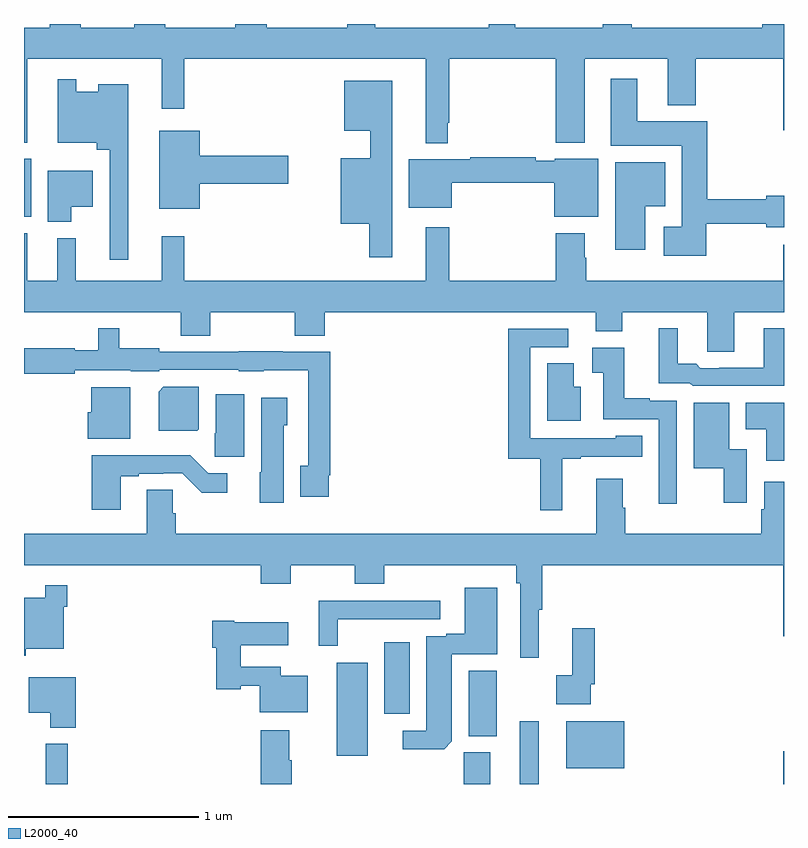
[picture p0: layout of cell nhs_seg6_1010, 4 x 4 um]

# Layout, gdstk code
import gdstk
lib = gdstk.Library(unit=1e-6, precision=1e-09)
def R(c, l, rs):  # rectangles x0, y0, x1, y1
    for r in rs: c.add(gdstk.rectangle(r[:2], r[2:], *l))
def P(c, l, *ps):  # polygons
    for p in ps: c.add(gdstk.Polygon(p, *l))
L2000_40 = (2000, 40)

nhs_seg6_1010 = lib.new_cell('nhs_seg6_1010')
R(nhs_seg6_1010, L2000_40, [(173.114,963.5,173.231,963.712), (175.315,963.5,175.453,963.666), (175.61,963.5,175.708,963.829), (176.996,963.5,177,963.673), (175.853,963.584,176.158,963.829), (174.647,963.648,174.808,964.138), (175.34,963.751,175.488,964.097), (174.896,963.87,175.03,964.246), (173,966.485,173.038,966.79)])
P(nhs_seg6_1010, L2000_40, [(175.23,966.979),(175.237,966.979),(175.237,967.316),(175.799,967.316),(175.799,966.875),(175.951,966.875),(175.951,967.316),(176.387,967.316),(176.387,967.073),(176.535,967.073),(176.535,967.316),(176.996,967.316),(176.996,966.942),(177,966.942),(177,967.5),(176.885,967.5),(176.885,967.48),(176.198,967.48),(176.198,967.5),(176.045,967.5),(176.045,967.48),(175.585,967.48),(175.585,967.5),(175.445,967.5),(175.445,967.48),(174.849,967.48),(174.849,967.5),(174.701,967.5),(174.701,967.48),(174.277,967.48),(174.277,967.5),(174.113,967.5),(174.113,967.48),(173.743,967.48),(173.743,967.5),(173.579,967.5),(173.579,967.48),(173.299,967.48),(173.299,967.5),(173.135,967.5),(173.135,967.48),(173,967.48),(173,966.875),(173.017,966.875),(173.017,967.316),(173.726,967.316),(173.726,967.053),(173.843,967.053),(173.843,967.316),(175.115,967.316),(175.115,966.872),(175.23,966.872)],
  [(176.592,966.45),(176.906,966.45),(176.906,966.431),(177,966.431),(177,966.597),(176.906,966.597),(176.906,966.578),(176.597,966.578),(176.597,966.988),(176.227,966.988),(176.227,967.213),(176.087,967.213),(176.087,966.86),(176.462,966.86),(176.462,966.433),(176.367,966.433),(176.367,966.281),(176.592,966.281)],
  [(173.548,967.183),(173.39,967.183),(173.39,967.144),(173.274,967.144),(173.274,967.21),(173.178,967.21),(173.178,966.875),(173.383,966.875),(173.383,966.839),(173.451,966.839),(173.451,966.258),(173.548,966.258)],
  [(174.937,967.201),(174.686,967.201),(174.686,966.938),(174.823,966.938),(174.823,966.793),(174.668,966.793),(174.668,966.449),(174.816,966.449),(174.816,966.273),(174.937,966.273)],
  [(173.926,966.659),(174.391,966.659),(174.391,966.806),(173.926,966.806),(173.926,966.937),(173.711,966.937),(173.711,966.527),(173.926,966.527)],
  [(176.023,966.79),(175.794,966.79),(175.794,966.78),(175.694,966.78),(175.694,966.8),(175.348,966.8),(175.348,966.787),(175.025,966.787),(175.025,966.533),(175.252,966.533),(175.252,966.664),(175.79,966.664),(175.79,966.485),(176.023,966.485)],
  [(176.269,966.542),(176.374,966.542),(176.374,966.772),(176.111,966.772),(176.111,966.312),(176.269,966.312)],
  [(173.248,966.539),(173.362,966.539),(173.362,966.727),(173.126,966.727),(173.126,966.458),(173.248,966.458)],
  [(176.737,965.984),(177,965.984),(177,966.337),(176.996,966.337),(176.996,966.148),(175.959,966.148),(175.959,966.269),(175.951,966.269),(175.951,966.4),(175.799,966.4),(175.799,966.148),(175.237,966.148),(175.237,966.43),(175.115,966.43),(175.115,966.148),(173.843,966.148),(173.843,966.382),(173.726,966.382),(173.726,966.148),(173.273,966.148),(173.273,966.373),(173.174,966.373),(173.174,966.148),(173.017,966.148),(173.017,966.4),(173,966.4),(173,965.984),(173.824,965.984),(173.824,965.86),(173.979,965.86),(173.979,965.984),(174.424,965.984),(174.424,965.86),(174.584,965.86),(174.584,965.984),(176.009,965.984),(176.009,965.882),(176.149,965.882),(176.149,965.984),(176.597,965.984),(176.597,965.776),(176.737,965.776)],
  [(177,965.899),(176.894,965.899),(176.894,965.691),(176.659,965.691),(176.659,965.688),(176.559,965.688),(176.537,965.711),(176.44,965.711),(176.44,965.899),(176.342,965.899),(176.342,965.61),(176.505,965.61),(176.52,965.595),(177,965.595)],
  [(174.604,965.125),(174.611,965.125),(174.611,965.775),(174.361,965.775),(174.361,965.777),(174.129,965.777),(174.129,965.775),(173.712,965.775),(173.712,965.794),(173.5,965.794),(173.5,965.899),(173.391,965.899),(173.391,965.783),(173.268,965.783),(173.268,965.794),(173,965.794),(173,965.66),(173.268,965.66),(173.268,965.678),(173.562,965.678),(173.562,965.672),(173.712,965.672),(173.712,965.679),(174.129,965.679),(174.129,965.672),(174.261,965.672),(174.261,965.678),(174.495,965.678),(174.495,965.174),(174.455,965.174),(174.455,965.013),(174.604,965.013)],
  [(175.834,965.211),(175.93,965.211),(175.93,965.223),(176.255,965.223),(176.255,965.332),(176.115,965.332),(176.115,965.319),(175.665,965.319),(175.665,965.799),(175.864,965.799),(175.864,965.895),(175.549,965.895),(175.549,965.211),(175.717,965.211),(175.717,964.941),(175.834,964.941)],
  [(176.436,965.517),(176.294,965.517),(176.294,965.53),(176.158,965.53),(176.158,965.797),(175.992,965.797),(175.992,965.665),(176.048,965.665),(176.048,965.421),(176.34,965.421),(176.34,964.974),(176.436,964.974)],
  [(175.93,965.59),(175.894,965.59),(175.894,965.714),(175.754,965.714),(175.754,965.411),(175.93,965.411)],
  [(173.92,965.368),(173.92,965.59),(173.734,965.59),(173.708,965.564),(173.708,965.36),(173.912,965.36)],
  [(173.56,965.588),(173.354,965.588),(173.354,965.457),(173.336,965.457),(173.336,965.318),(173.56,965.318)],
  [(174.16,965.551),(174.008,965.551),(174.008,965.346),(174.004,965.346),(174.004,965.223),(174.16,965.223)],
  [(174.367,965.388),(174.385,965.388),(174.385,965.533),(174.248,965.533),(174.248,965.142),(174.242,965.142),(174.242,964.98),(174.367,964.98)],
  [(177,965.506),(176.798,965.506),(176.798,965.366),(176.906,965.366),(176.906,965.202),(177,965.202)],
  [(176.805,965.263),(176.713,965.263),(176.713,965.506),(176.525,965.506),(176.525,965.162),(176.684,965.162),(176.684,964.98),(176.805,964.98)],
  [(173.509,965.121),(173.605,965.121),(173.605,965.133),(173.732,965.133),(173.732,965.136),(173.832,965.136),(173.935,965.034),(174.07,965.034),(174.07,965.136),(173.97,965.136),(173.875,965.231),(173.357,965.231),(173.357,964.944),(173.509,964.944)],
  [(175.709,964.416),(175.727,964.416),(175.727,964.652),(176.996,964.652),(176.996,964.278),(177,964.278),(177,965.092),(176.895,965.092),(176.895,964.946),(176.879,964.946),(176.879,964.816),(176.165,964.816),(176.165,964.953),(176.152,964.953),(176.152,965.107),(176.012,965.107),(176.012,964.816),(173.798,964.816),(173.798,964.926),(173.784,964.926),(173.784,965.048),(173.645,965.048),(173.645,964.816),(173,964.816),(173,964.652),(174.245,964.652),(174.245,964.553),(174.405,964.553),(174.405,964.652),(174.742,964.652),(174.742,964.553),(174.897,964.553),(174.897,964.652),(175.591,964.652),(175.591,964.556),(175.611,964.556),(175.611,964.164),(175.709,964.164)],
  [(173.009,964.211),(173.208,964.211),(173.208,964.433),(173.228,964.433),(173.228,964.546),(173.112,964.546),(173.112,964.48),(173,964.48),(173,964.175),(173.009,964.175)],
  [(175.252,963.724),(175.252,964.182),(175.492,964.182),(175.492,964.534),(175.319,964.534),(175.319,964.291),(175.223,964.291),(175.223,964.278),(175.118,964.278),(175.118,963.78),(174.993,963.78),(174.993,963.683),(175.211,963.683)],
  [(174.651,964.368),(175.192,964.368),(175.192,964.464),(174.551,964.464),(174.551,964.227),(174.651,964.227)],
  [(174.493,964.069),(174.352,964.069),(174.352,964.116),(174.142,964.116),(174.142,964.229),(174.391,964.229),(174.391,964.351),(174.106,964.351),(174.106,964.359),(173.99,964.359),(173.99,964.217),(174.013,964.217),(174.013,964),(174.141,964),(174.141,964.018),(174.242,964.018),(174.242,963.878),(174.493,963.878)],
  [(175.983,964.024),(176.003,964.024),(176.003,964.321),(175.886,964.321),(175.886,964.073),(175.8,964.073),(175.8,963.92),(175.983,963.92)],
  [(173.273,964.063),(173.024,964.063),(173.024,963.875),(173.138,963.875),(173.138,963.797),(173.273,963.797)],
  [(174.41,963.626),(174.397,963.626),(174.397,963.784),(174.245,963.784),(174.245,963.5),(174.41,963.5)])

lib.write_gds('nhs_seg6_1010.gds')
